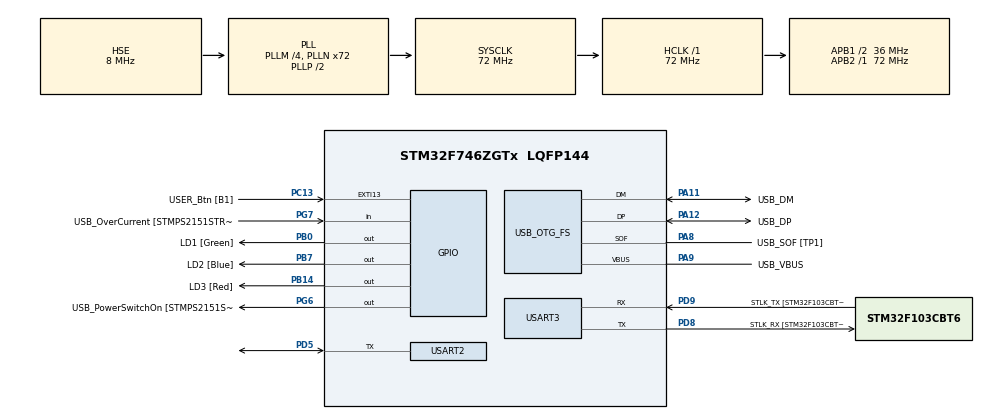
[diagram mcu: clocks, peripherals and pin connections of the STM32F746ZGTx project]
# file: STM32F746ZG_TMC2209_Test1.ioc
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Mcu.Family=STM32F7
Mcu.Name=STM32F746ZGTx
Mcu.Package=LQFP144
NVIC.PriorityGroup=NVIC_PRIORITYGROUP_4
PA1.GPIO_Label=RMII_REF_CLK [LAN8742A-CZ-TR_REFCLK0]
PA1.Signal=ETH_REF_CLK
PA10.GPIO_Label=USB_ID
PA10.Signal=USB_OTG_FS_ID
PA11.GPIO_Label=USB_DM
PA11.Mode=Device_Only
PA11.Signal=USB_OTG_FS_DM
PA12.GPIO_Label=USB_DP
PA12.Mode=Device_Only
PA12.Signal=USB_OTG_FS_DP
PA13.GPIO_Label=TMS
PA13.Mode=Serial_Wire
PA13.Signal=SYS_JTMS-SWDIO
PA14.GPIO_Label=TCK
PA14.Mode=Serial_Wire
PA14.Signal=SYS_JTCK-SWCLK
PA2.GPIO_Label=RMII_MDIO [LAN8742A-CZ-TR_MDIO]
PA2.Signal=ETH_MDIO
PA7.GPIO_Label=RMII_CRS_DV [LAN8742A-CZ-TR_CRS_DV]
PA7.Signal=ETH_CRS_DV
PA8.GPIO_Label=USB_SOF [TP1]
PA8.Mode=Activate_SOF_FS
PA8.Signal=USB_OTG_FS_SOF
PA9.GPIO_Label=USB_VBUS
PA9.Mode=Activate_VBUS
PA9.Signal=USB_OTG_FS_VBUS
PB0.GPIO_Label=LD1 [Green]
PB0.Signal=GPIO_Output
PB13.GPIO_Label=RMII_TXD1 [LAN8742A-CZ-TR_TXD1]
PB13.Signal=ETH_TXD1
PB14.GPIO_Label=LD3 [Red]
PB14.Signal=GPIO_Output
PB3.GPIO_Label=SW0
PB3.Signal=SYS_JTDO-SWO
PB7.GPIO_Label=LD2 [Blue]
PB7.Signal=GPIO_Output
PC1.GPIO_Label=RMII_MDC [LAN8742A-CZ-TR_MDC]
PC1.Signal=ETH_MDC
PC13.GPIO_Label=USER_Btn [B1]
PC13.Signal=GPXTI13
PC14/OSC32_IN.Mode=LSE-External-Oscillator
PC14/OSC32_IN.Signal=RCC_OSC32_IN
PC15/OSC32_OUT.Mode=LSE-External-Oscillator
PC15/OSC32_OUT.Signal=RCC_OSC32_OUT
PC4.GPIO_Label=RMII_RXD0 [LAN8742A-CZ-TR_RXD0]
PC4.Signal=ETH_RXD0
PC5.GPIO_Label=RMII_RXD1 [LAN8742A-CZ-TR_RXD1]
PC5.Signal=ETH_RXD1
PD5.Mode=Half_duplex(single_wire_mode)
PD5.Signal=USART2_TX
PD8.GPIO_Label=STLK_RX [STM32F103CBT6_PA3]
PD8.Mode=Asynchronous
PD8.Signal=USART3_TX
PD9.GPIO_Label=STLK_TX [STM32F103CBT6_PA2]
PD9.Mode=Asynchronous
PD9.Signal=USART3_RX
PG11.GPIO_Label=RMII_TX_EN [LAN8742A-CZ-TR_TXEN]
PG11.Signal=ETH_TX_EN
PG13.GPIO_Label=RMII_TXD0 [LAN8742A-CZ-TR_TXD0]
PG13.Signal=ETH_TXD0
PG6.GPIO_Label=USB_PowerSwitchOn [STMPS2151STR_EN]
PG6.Signal=GPIO_Output
PG7.GPIO_Label=USB_OverCurrent [STMPS2151STR_FAULT]
PG7.Signal=GPIO_Input
PH0/OSC_IN.GPIO_Label=MCO [STM32F103CBT6_PA8]
PH0/OSC_IN.Mode=HSE-External-Clock-Source
PH0/OSC_IN.Signal=RCC_OSC_IN
PH1/OSC_OUT.Mode=HSE-External-Clock-Source
PH1/OSC_OUT.Signal=RCC_OSC_OUT
ProjectManager.HeapSize=0x200
ProjectManager.StackSize=0x400
ProjectManager.TargetToolchain=STM32CubeIDE
RCC.48MHZClocksFreq_Value=24000000
RCC.AHBFreq_Value=72000000
RCC.APB1CLKDivider=RCC_HCLK_DIV2
RCC.APB1Freq_Value=36000000
RCC.APB1TimFreq_Value=72000000
RCC.APB2Freq_Value=72000000
RCC.APB2TimFreq_Value=72000000
RCC.CortexFreq_Value=72000000
RCC.HCLKFreq_Value=72000000
RCC.HSE_VALUE=8000000
RCC.HSI_VALUE=16000000
RCC.PLLM=4
RCC.PLLMUL=RCC_PLL_MUL9
RCC.PLLN=72
RCC.PLLQ=3
RCC.PRESCALERUSB=RCC_USBCLKSOURCE_PLL_DIV1_5
RCC.SYSCLKFreq_VALUE=72000000
RCC.SYSCLKSource=RCC_SYSCLKSOURCE_PLLCLK
RCC.SYSCLKSourceVirtual=RCC_SYSCLKSOURCE_PLLCLK
RCC.USBFreq_Value=48000000
RCC.VCOOutputFreq_Value=144000000
USART2.VirtualMode-Half_duplex(single_wire_mode)=VM_ASYNC
USART3.VirtualMode-Asynchronous=VM_ASYNC
USB_OTG_FS.VirtualMode=Device_Only
board=NUCLEO-F746ZG

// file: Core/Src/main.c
/* USER CODE BEGIN Header */
/**
  ******************************************************************************
  * @file           : main.c
  * @brief          : Main program body
  ******************************************************************************
  * @attention
  *
  * Copyright (c) 2022 STMicroelectronics.
  * All rights reserved.
  *
  * This software is licensed under terms that can be found in the LICENSE file
  * in the root directory of this software component.
  * If no LICENSE file comes with this software, it is provided AS-IS.
  *
  ******************************************************************************
  * 参考として以下のURLを見るとよき
  * https://github.com/trinamic/TMC-EvalSystem/blob/46dcbc9dd33c452ce2f4c45faea9b31f9e003780/boards/TMC2209_eval.c
  ******************************************************************************
  */
/* USER CODE END Header */
#include "main.h"

/* USER CODE BEGIN Includes */
#include <stdio.h>
#include "TMC2209.h"
/* USER CODE END Includes */

/* USER CODE BEGIN PD */
#define TMC2209_CRC(data, length) tmc_CRC8(data, length, 1)
/* USER CODE END PD */

UART_HandleTypeDef huart2;
UART_HandleTypeDef huart3;

PCD_HandleTypeDef hpcd_USB_OTG_FS;

/* USER CODE BEGIN PV */
static TMC2209TypeDef TMC2209; //TMC2209の設定などの定義
static ConfigurationTypeDef *TMC2209_config; //TMC2209の設定
/* USER CODE END PV */

void SystemClock_Config(void);
static void MX_GPIO_Init(void);
static void MX_USART3_UART_Init(void);
static void MX_USB_OTG_FS_PCD_Init(void);
static void MX_USART2_UART_Init(void);
/* USER CODE BEGIN PFP */
static void periodicJob(uint32_t tick);
static uint8_t reset(void);
static uint8_t restore(void);
void TMC2209_INIT(void);
/* USER CODE END PFP */

/* USER CODE BEGIN 0 */
void tmc2209_readWriteArray(uint8_t channel, uint8_t *data, size_t writeLength, size_t readLength)
{
	//set your uart read write
	//UART_readWrite(channelToUART(channel), data, writeLength, readLength);
	HAL_HalfDuplex_EnableTransmitter(&huart2);
	HAL_UART_Transmit(&huart2, data, writeLength,3000);

	if(readLength > 0){
		HAL_HalfDuplex_EnableReceiver(&huart2);
		HAL_UART_Receive(&huart2, data, readLength, 3000);
	}
}

uint8_t tmc2209_CRC8(uint8_t *data, size_t length)
{
	return TMC2209_CRC(data, length);
}

static void periodicJob(uint32_t tick)
{

	tmc2209_periodicJob(&TMC2209, tick);

	//StepDir_periodicJob(0);
}

static uint8_t reset()
{
	//StepDir_init(STEPDIR_PRECISION);
	//StepDir_setPins(0, Pins.STEP, Pins.DIR, Pins.DIAG);

	return tmc2209_reset(&TMC2209);
}

static uint8_t restore()
{
	return tmc2209_restore(&TMC2209);
}

void TMC2209_INIT()
{
	tmc_fillCRC8Table(0x07, true, 1);

	TMC2209_config->reset = reset;
	TMC2209_config->restore = restore;

	tmc2209_init(&TMC2209, 0, 0, TMC2209_config, &tmc2209_defaultRegisterResetState[0]);

	//restore();
}
/* USER CODE END 0 */

int main(void)
{

  /* MCU Configuration--------------------------------------------------------*/

  /* Reset of all peripherals, Initializes the Flash interface and the Systick. */
  HAL_Init();

  /* Configure the system clock */
  SystemClock_Config();

  /* Initialize all configured peripherals */
  MX_GPIO_Init();
  MX_USART3_UART_Init();
  MX_USB_OTG_FS_PCD_Init();
  MX_USART2_UART_Init();
  /* USER CODE BEGIN 2 */
  TMC2209_INIT();
  /* USER CODE END 2 */

  /* Infinite loop */
  while (1)
  {

    /* USER CODE BEGIN 3 */
	  periodicJob(HAL_GetTick());
	  //example read register value
	  uint32_t value = 0;
	  value = tmc2209_readInt(&TMC2209, TMC2209_FACTORY_CONF);
	  printf("FACTORY_CONF: %ld\r\n", value);
	  value = tmc2209_readInt(&TMC2209, TMC2209_SG_RESULT);
	  //tmc2209_writeInt(&TMC2209, );
	  printf("SG_RESULT: %ld\r\n", value);
	  HAL_Delay(1000);
	  //uint32_t value = tmc2209_readInt(&TMC2209, TMC2209_SG_RESULT);

  }
  /* USER CODE END 3 */
}

void SystemClock_Config(void)
{
  RCC_OscInitTypeDef RCC_OscInitStruct = {0};
  RCC_ClkInitTypeDef RCC_ClkInitStruct = {0};

  /** Configure LSE Drive Capability
  */
  HAL_PWR_EnableBkUpAccess();

  /** Configure the main internal regulator output voltage
  */
  __HAL_RCC_PWR_CLK_ENABLE();
  __HAL_PWR_VOLTAGESCALING_CONFIG(PWR_REGULATOR_VOLTAGE_SCALE3);

  /** Initializes the RCC Oscillators according to the specified parameters
  * in the RCC_OscInitTypeDef structure.
  */
  RCC_OscInitStruct.OscillatorType = RCC_OSCILLATORTYPE_HSE;
  RCC_OscInitStruct.HSEState = RCC_HSE_BYPASS;
  RCC_OscInitStruct.PLL.PLLState = RCC_PLL_ON;
  RCC_OscInitStruct.PLL.PLLSource = RCC_PLLSOURCE_HSE;
  RCC_OscInitStruct.PLL.PLLM = 4;
  RCC_OscInitStruct.PLL.PLLN = 72;
  RCC_OscInitStruct.PLL.PLLP = RCC_PLLP_DIV2;
  RCC_OscInitStruct.PLL.PLLQ = 3;
  if (HAL_RCC_OscConfig(&RCC_OscInitStruct) != HAL_OK)
  {
    Error_Handler();
  }

  /** Initializes the CPU, AHB and APB buses clocks
  */
  RCC_ClkInitStruct.ClockType = RCC_CLOCKTYPE_HCLK|RCC_CLOCKTYPE_SYSCLK
                              |RCC_CLOCKTYPE_PCLK1|RCC_CLOCKTYPE_PCLK2;
  RCC_ClkInitStruct.SYSCLKSource = RCC_SYSCLKSOURCE_PLLCLK;
  RCC_ClkInitStruct.AHBCLKDivider = RCC_SYSCLK_DIV1;
  RCC_ClkInitStruct.APB1CLKDivider = RCC_HCLK_DIV2;
  RCC_ClkInitStruct.APB2CLKDivider = RCC_HCLK_DIV1;

  if (HAL_RCC_ClockConfig(&RCC_ClkInitStruct, FLASH_LATENCY_2) != HAL_OK)
  {
    Error_Handler();
  }
}

static void MX_USART2_UART_Init(void)
{

  huart2.Instance = USART2;
  huart2.Init.BaudRate = 115200;
  huart2.Init.WordLength = UART_WORDLENGTH_8B;
  huart2.Init.StopBits = UART_STOPBITS_1;
  huart2.Init.Parity = UART_PARITY_NONE;
  huart2.Init.Mode = UART_MODE_TX_RX;
  huart2.Init.HwFlowCtl = UART_HWCONTROL_NONE;
  huart2.Init.OverSampling = UART_OVERSAMPLING_16;
  huart2.Init.OneBitSampling = UART_ONE_BIT_SAMPLE_DISABLE;
  huart2.AdvancedInit.AdvFeatureInit = UART_ADVFEATURE_NO_INIT;
  if (HAL_HalfDuplex_Init(&huart2) != HAL_OK)
  {
    Error_Handler();
  }

}

static void MX_USART3_UART_Init(void)
{

  huart3.Instance = USART3;
  huart3.Init.BaudRate = 115200;
  huart3.Init.WordLength = UART_WORDLENGTH_8B;
  huart3.Init.StopBits = UART_STOPBITS_1;
  huart3.Init.Parity = UART_PARITY_NONE;
  huart3.Init.Mode = UART_MODE_TX_RX;
  huart3.Init.HwFlowCtl = UART_HWCONTROL_NONE;
  huart3.Init.OverSampling = UART_OVERSAMPLING_16;
  huart3.Init.OneBitSampling = UART_ONE_BIT_SAMPLE_DISABLE;
  huart3.AdvancedInit.AdvFeatureInit = UART_ADVFEATURE_NO_INIT;
  if (HAL_UART_Init(&huart3) != HAL_OK)
  {
    Error_Handler();
  }

}

static void MX_USB_OTG_FS_PCD_Init(void)
{

  hpcd_USB_OTG_FS.Instance = USB_OTG_FS;
  hpcd_USB_OTG_FS.Init.dev_endpoints = 6;
  hpcd_USB_OTG_FS.Init.speed = PCD_SPEED_FULL;
  hpcd_USB_OTG_FS.Init.dma_enable = DISABLE;
  hpcd_USB_OTG_FS.Init.phy_itface = PCD_PHY_EMBEDDED;
  hpcd_USB_OTG_FS.Init.Sof_enable = ENABLE;
  hpcd_USB_OTG_FS.Init.low_power_enable = DISABLE;
  hpcd_USB_OTG_FS.Init.lpm_enable = DISABLE;
  hpcd_USB_OTG_FS.Init.vbus_sensing_enable = ENABLE;
  hpcd_USB_OTG_FS.Init.use_dedicated_ep1 = DISABLE;
  if (HAL_PCD_Init(&hpcd_USB_OTG_FS) != HAL_OK)
  {
    Error_Handler();
  }

}

static void MX_GPIO_Init(void)
{
  GPIO_InitTypeDef GPIO_InitStruct = {0};

  /* GPIO Ports Clock Enable */
  __HAL_RCC_GPIOC_CLK_ENABLE();
  __HAL_RCC_GPIOH_CLK_ENABLE();
  __HAL_RCC_GPIOA_CLK_ENABLE();
  __HAL_RCC_GPIOB_CLK_ENABLE();
  __HAL_RCC_GPIOD_CLK_ENABLE();
  __HAL_RCC_GPIOG_CLK_ENABLE();

  /*Configure GPIO pin Output Level */
  HAL_GPIO_WritePin(GPIOB, LD1_Pin|LD3_Pin|LD2_Pin, GPIO_PIN_RESET);

  /*Configure GPIO pin Output Level */
  HAL_GPIO_WritePin(USB_PowerSwitchOn_GPIO_Port, USB_PowerSwitchOn_Pin, GPIO_PIN_RESET);

  /*Configure GPIO pin : USER_Btn_Pin */
  GPIO_InitStruct.Pin = USER_Btn_Pin;
  GPIO_InitStruct.Mode = GPIO_MODE_IT_RISING;
  GPIO_InitStruct.Pull = GPIO_NOPULL;
  HAL_GPIO_Init(USER_Btn_GPIO_Port, &GPIO_InitStruct);

  /*Configure GPIO pins : RMII_MDC_Pin RMII_RXD0_Pin RMII_RXD1_Pin */
  GPIO_InitStruct.Pin = RMII_MDC_Pin|RMII_RXD0_Pin|RMII_RXD1_Pin;
  GPIO_InitStruct.Mode = GPIO_MODE_AF_PP;
  GPIO_InitStruct.Pull = GPIO_NOPULL;
  GPIO_InitStruct.Speed = GPIO_SPEED_FREQ_VERY_HIGH;
  GPIO_InitStruct.Alternate = GPIO_AF11_ETH;
  HAL_GPIO_Init(GPIOC, &GPIO_InitStruct);

  /*Configure GPIO pins : RMII_REF_CLK_Pin RMII_MDIO_Pin RMII_CRS_DV_Pin */
  GPIO_InitStruct.Pin = RMII_REF_CLK_Pin|RMII_MDIO_Pin|RMII_CRS_DV_Pin;
  GPIO_InitStruct.Mode = GPIO_MODE_AF_PP;
  GPIO_InitStruct.Pull = GPIO_NOPULL;
  GPIO_InitStruct.Speed = GPIO_SPEED_FREQ_VERY_HIGH;
  GPIO_InitStruct.Alternate = GPIO_AF11_ETH;
  HAL_GPIO_Init(GPIOA, &GPIO_InitStruct);

  /*Configure GPIO pins : LD1_Pin LD3_Pin LD2_Pin */
  GPIO_InitStruct.Pin = LD1_Pin|LD3_Pin|LD2_Pin;
  GPIO_InitStruct.Mode = GPIO_MODE_OUTPUT_PP;
  GPIO_InitStruct.Pull = GPIO_NOPULL;
  GPIO_InitStruct.Speed = GPIO_SPEED_FREQ_LOW;
  HAL_GPIO_Init(GPIOB, &GPIO_InitStruct);

  /*Configure GPIO pin : RMII_TXD1_Pin */
  GPIO_InitStruct.Pin = RMII_TXD1_Pin;
  GPIO_InitStruct.Mode = GPIO_MODE_AF_PP;
  GPIO_InitStruct.Pull = GPIO_NOPULL;
  GPIO_InitStruct.Speed = GPIO_SPEED_FREQ_VERY_HIGH;
  GPIO_InitStruct.Alternate = GPIO_AF11_ETH;
  HAL_GPIO_Init(RMII_TXD1_GPIO_Port, &GPIO_InitStruct);

  /*Configure GPIO pin : USB_PowerSwitchOn_Pin */
  GPIO_InitStruct.Pin = USB_PowerSwitchOn_Pin;
  GPIO_InitStruct.Mode = GPIO_MODE_OUTPUT_PP;
  GPIO_InitStruct.Pull = GPIO_NOPULL;
  GPIO_InitStruct.Speed = GPIO_SPEED_FREQ_LOW;
  HAL_GPIO_Init(USB_PowerSwitchOn_GPIO_Port, &GPIO_InitStruct);

  /*Configure GPIO pin : USB_OverCurrent_Pin */
  GPIO_InitStruct.Pin = USB_OverCurrent_Pin;
  GPIO_InitStruct.Mode = GPIO_MODE_INPUT;
  GPIO_InitStruct.Pull = GPIO_NOPULL;
  HAL_GPIO_Init(USB_OverCurrent_GPIO_Port, &GPIO_InitStruct);

  /*Configure GPIO pins : RMII_TX_EN_Pin RMII_TXD0_Pin */
  GPIO_InitStruct.Pin = RMII_TX_EN_Pin|RMII_TXD0_Pin;
  GPIO_InitStruct.Mode = GPIO_MODE_AF_PP;
  GPIO_InitStruct.Pull = GPIO_NOPULL;
  GPIO_InitStruct.Speed = GPIO_SPEED_FREQ_VERY_HIGH;
  GPIO_InitStruct.Alternate = GPIO_AF11_ETH;
  HAL_GPIO_Init(GPIOG, &GPIO_InitStruct);

}

/* USER CODE BEGIN 4 */
int _write(int file, char *ptr, int len)
{
  int DataIdx;
  for(DataIdx=0; DataIdx<len; DataIdx++)
  {
    ITM_SendChar(*ptr++);
  }
  return len;
}
/* USER CODE END 4 */

void Error_Handler(void)
{
  __disable_irq();
  while (1)
  {
  }
}
